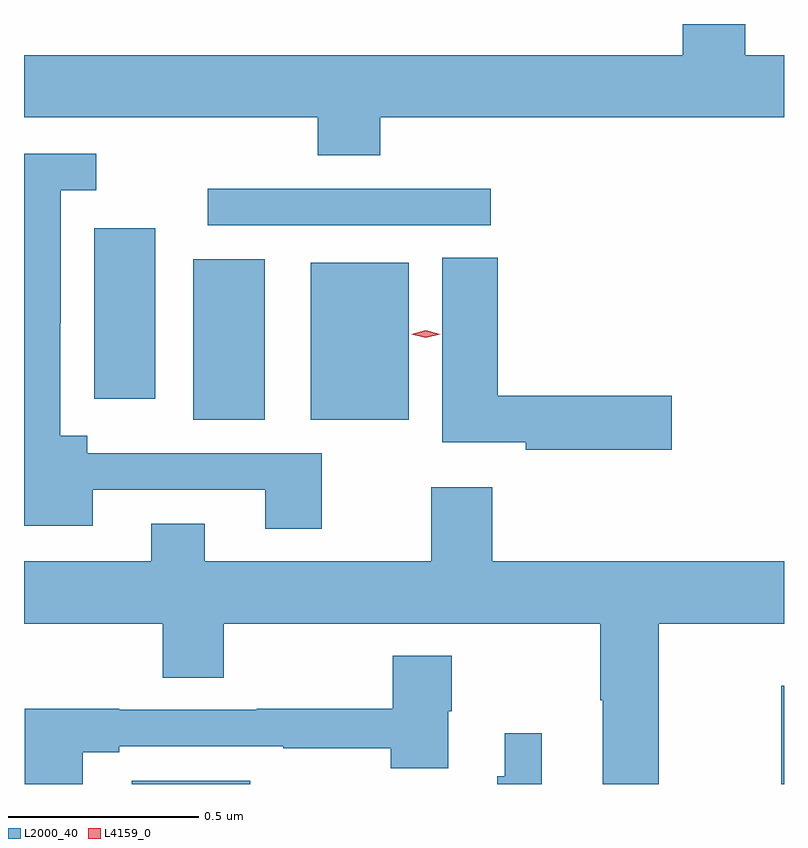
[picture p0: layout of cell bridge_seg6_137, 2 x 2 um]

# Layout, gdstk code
import gdstk
lib = gdstk.Library(unit=1e-6, precision=1e-09)
def R(c, l, rs):  # rectangles x0, y0, x1, y1
    for r in rs: c.add(gdstk.rectangle(r[:2], r[2:], *l))
def P(c, l, *ps):  # polygons
    for p in ps: c.add(gdstk.Polygon(p, *l))
L2000_40 = (2000, 40)
L4159_0 = (4159, 0)

bridge_seg6_137 = lib.new_cell('bridge_seg6_137')
R(bridge_seg6_137, L2000_40, [(394.081,937.59,394.393,937.599), (395.791,937.59,395.798,937.849), (394.244,938.549,394.432,938.971), (394.553,938.549,394.81,938.962), (393.983,938.604,394.144,939.052), (394.281,939.06,395.026,939.156)])
P(bridge_seg6_137, L2000_40, [(394.736,939.344),(395.798,939.344),(395.798,939.508),(395.696,939.508),(395.696,939.59),(395.531,939.59),(395.531,939.508),(393.798,939.508),(393.798,939.344),(394.571,939.344),(394.571,939.245),(394.736,939.245)],
  [(394.581,938.46),(393.964,938.46),(393.964,938.506),(393.894,938.506),(393.894,938.803),(393.895,938.803),(393.895,939.153),(393.988,939.153),(393.988,939.249),(393.798,939.249),(393.798,938.27),(393.979,938.27),(393.979,938.364),(394.433,938.364),(394.433,938.262),(394.581,938.262)],
  [(395.503,938.612),(395.045,938.612),(395.045,938.975),(394.898,938.975),(394.898,938.489),(395.118,938.489),(395.118,938.47),(395.503,938.47)],
  [(395.03,938.371),(394.87,938.371),(394.87,938.176),(394.273,938.176),(394.273,938.275),(394.133,938.275),(394.133,938.176),(393.798,938.176),(393.798,938.012),(394.163,938.012),(394.163,937.87),(394.323,937.87),(394.323,938.012),(395.314,938.012),(395.314,937.81),(395.321,937.81),(395.321,937.59),(395.469,937.59),(395.469,938.012),(395.798,938.012),(395.798,938.176),(395.03,938.176)],
  [(393.952,937.673),(394.048,937.673),(394.048,937.689),(394.48,937.689),(394.48,937.684),(394.763,937.684),(394.763,937.632),(394.915,937.632),(394.915,937.782),(394.923,937.782),(394.923,937.927),(394.768,937.927),(394.768,937.788),(394.411,937.788),(394.411,937.785),(394.048,937.785),(394.048,937.788),(393.8,937.788),(393.8,937.59),(393.952,937.59)],
  [(395.161,937.723),(395.063,937.723),(395.063,937.61),(395.044,937.61),(395.044,937.59),(395.161,937.59)])
P(bridge_seg6_137, L4159_0, [(394.855,938.764),(394.817,938.773),(394.817,938.773),(394.817,938.774),(394.855,938.784),(394.893,938.774),(394.894,938.774),(394.893,938.774)])

lib.write_gds('bridge_seg6_137.gds')
